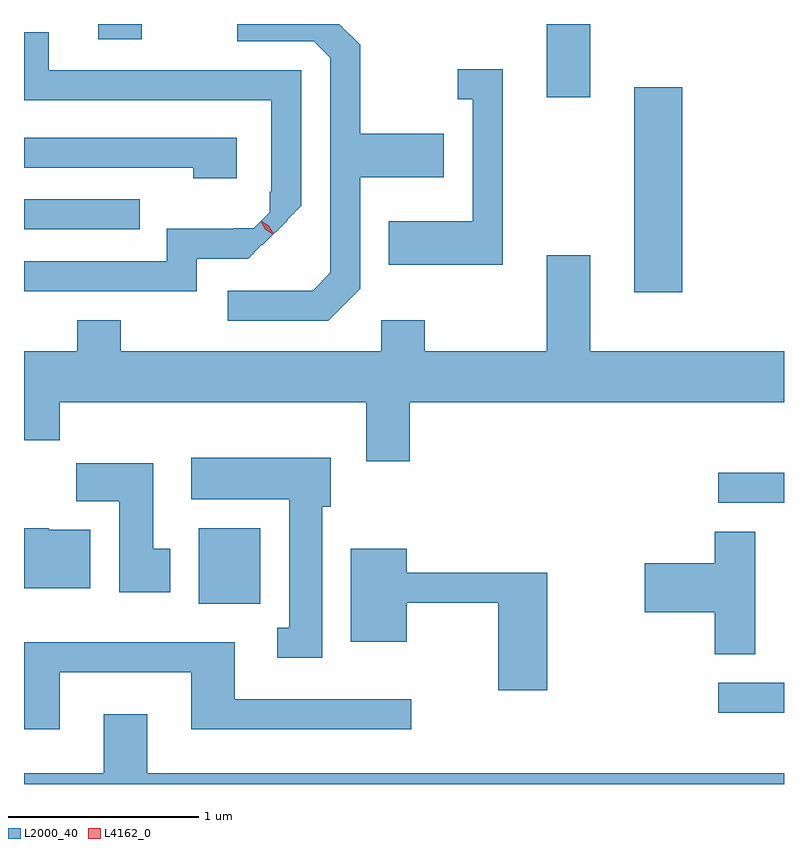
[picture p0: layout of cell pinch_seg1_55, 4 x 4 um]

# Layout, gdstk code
import gdstk
lib = gdstk.Library(unit=1e-6, precision=1e-09)
def R(c, l, rs):  # rectangles x0, y0, x1, y1
    for r in rs: c.add(gdstk.rectangle(r[:2], r[2:], *l))
def P(c, l, *ps):  # polygons
    for p in ps: c.add(gdstk.Polygon(p, *l))
L2000_40 = (2000, 40)
L4162_0 = (4162, 0)

pinch_seg1_55 = lib.new_cell('pinch_seg1_55')
R(pinch_seg1_55, L2000_40, [(1027.093,871.301,1027.44,871.459), (1024.361,871.876,1024.684,872.274), (1027.093,872.406,1027.44,872.564), (1026.651,873.516,1026.904,874.594), (1023.44,873.846,1024.048,874.004), (1026.191,874.541,1026.419,874.927), (1023.831,874.846,1024.059,874.927)])
P(pinch_seg1_55, L2000_40, [(1025.209,873.534),(1025.209,874.121),(1025.649,874.121),(1025.649,874.349),(1025.209,874.349),(1025.209,874.817),(1025.099,874.927),(1024.563,874.927),(1024.563,874.836),(1024.964,874.836),(1025.051,874.749),(1025.051,873.617),(1024.959,873.524),(1024.513,873.524),(1024.513,873.366),(1025.042,873.366)],
  [(1024.349,873.691),(1024.619,873.691),(1024.692,873.764),(1024.695,873.762),(1024.828,873.895),(1024.826,873.898),(1024.899,873.971),(1024.899,874.684),(1023.569,874.684),(1023.569,874.883),(1023.44,874.883),(1023.44,874.526),(1024.741,874.526),(1024.741,874.045),(1024.733,874.045),(1024.733,873.936),(1024.648,873.851),(1024.545,873.851),(1024.545,873.849),(1024.191,873.849),(1024.191,873.679),(1023.44,873.679),(1023.44,873.521),(1024.349,873.521)],
  [(1025.959,874.689),(1025.723,874.689),(1025.723,874.531),(1025.801,874.531),(1025.801,873.889),(1025.361,873.889),(1025.361,873.661),(1025.959,873.661)],
  [(1024.559,874.329),(1023.44,874.329),(1023.44,874.171),(1024.331,874.171),(1024.331,874.116),(1024.559,874.116)],
  [(1025.469,872.936),(1027.44,872.936),(1027.44,873.204),(1026.419,873.204),(1026.419,873.709),(1026.191,873.709),(1026.191,873.204),(1025.549,873.204),(1025.549,873.369),(1025.321,873.369),(1025.321,873.204),(1023.949,873.204),(1023.949,873.369),(1023.721,873.369),(1023.721,873.204),(1023.44,873.204),(1023.44,872.736),(1023.629,872.736),(1023.629,872.936),(1025.241,872.936),(1025.241,872.626),(1025.469,872.626)],
  [(1025.009,872.386),(1025.054,872.386),(1025.054,872.644),(1024.321,872.644),(1024.321,872.426),(1024.836,872.426),(1024.836,871.749),(1024.773,871.749),(1024.773,871.591),(1025.009,871.591)],
  [(1024.209,872.164),(1024.119,872.164),(1024.119,872.614),(1023.716,872.614),(1023.716,872.416),(1023.941,872.416),(1023.941,871.936),(1024.209,871.936)],
  [(1023.789,872.264),(1023.57,872.264),(1023.57,872.274),(1023.44,872.274),(1023.44,871.956),(1023.789,871.956)],
  [(1027.289,872.254),(1027.076,872.254),(1027.076,872.089),(1026.706,872.089),(1026.706,871.831),(1027.076,871.831),(1027.076,871.611),(1027.289,871.611)],
  [(1026.194,872.039),(1025.454,872.039),(1025.454,872.164),(1025.161,872.164),(1025.161,871.676),(1025.454,871.676),(1025.454,871.881),(1025.936,871.881),(1025.936,871.421),(1026.194,871.421)],
  [(1023.629,871.516),(1024.321,871.516),(1024.321,871.216),(1025.478,871.216),(1025.478,871.374),(1024.549,871.374),(1024.549,871.674),(1023.44,871.674),(1023.44,871.216),(1023.629,871.216)],
  [(1027.44,870.984),(1024.089,870.984),(1024.089,871.294),(1023.861,871.294),(1023.861,870.984),(1023.44,870.984),(1023.44,870.927),(1027.44,870.927)])
P(pinch_seg1_55, L4162_0, [(1024.753,873.823),(1024.714,873.851),(1024.689,873.892),(1024.689,873.892),(1024.689,873.892),(1024.728,873.864),(1024.754,873.824),(1024.754,873.823)],
  [(1024.745,873.823),(1024.71,873.847),(1024.689,873.884),(1024.689,873.884),(1024.689,873.884),(1024.725,873.86),(1024.746,873.824),(1024.746,873.823)])

lib.write_gds('pinch_seg1_55.gds')
